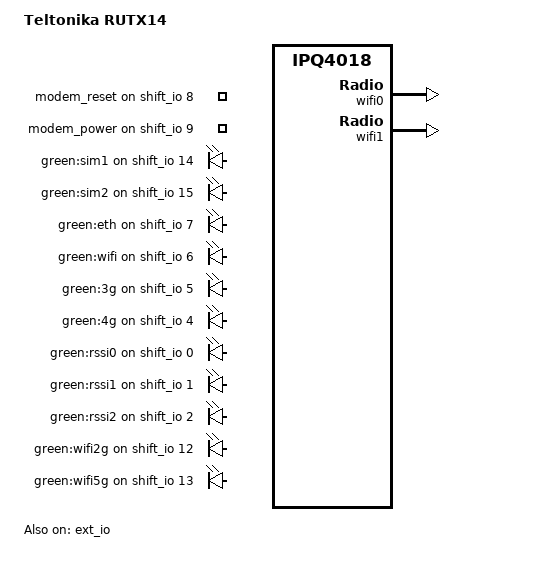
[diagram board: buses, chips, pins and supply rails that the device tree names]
// SPDX-License-Identifier: GPL-2.0-or-later OR MIT

#include "qcom-ipq4018-rutx-dsa.dtsi"

/ {
	model = "Teltonika RUTX14";
	compatible = "teltonika,rutx14";

	aliases {
		led-boot = &led_rssi0;
		led-failsafe = &led_rssi0;
		led-running = &led_rssi0;
		led-upgrade = &led_rssi0;
	};

	soc {
		gpio-export {
			compatible = "gpio-export";

			modem_reset {
				gpio-export,name = "modem_reset";
				gpio-export,output = <0>;
				gpios = <&shift_io 8 GPIO_ACTIVE_HIGH>;
			};

			modem_power {
				gpio-export,name = "modem_power";
				gpio-export,output = <1>;
				gpios = <&shift_io 9 GPIO_ACTIVE_HIGH>;
			};
		};

		leds {
			compatible = "gpio-leds";

			led-0 {
				label = "green:sim1";
				gpios = <&shift_io 14 GPIO_ACTIVE_HIGH>;
			};

			led-1 {
				label = "green:sim2";
				gpios = <&shift_io 15 GPIO_ACTIVE_HIGH>;
			};

			led-2 {
				label = "green:eth";
				gpios = <&shift_io 7 GPIO_ACTIVE_HIGH>;
			};

			led-3 {
				label = "green:wifi";
				gpios = <&shift_io 6 GPIO_ACTIVE_HIGH>;
			};

			led-4 {
				label = "green:3g";
				gpios = <&shift_io 5 GPIO_ACTIVE_HIGH>;
			};

			led-5 {
				label = "green:4g";
				gpios = <&shift_io 4 GPIO_ACTIVE_HIGH>;
			};

			led_rssi0: led-6 {
				label = "green:rssi0";
				gpios = <&shift_io 0 GPIO_ACTIVE_HIGH>;
			};

			led-7 {
				label = "green:rssi1";
				gpios = <&shift_io 1 GPIO_ACTIVE_HIGH>;
			};

			led-8 {
				label = "green:rssi2";
				gpios = <&shift_io 2 GPIO_ACTIVE_HIGH>;
			};

			led-9 {
				label = "green:wifi2g";
				gpios = <&shift_io 12 GPIO_ACTIVE_HIGH>;
				linux,default-trigger = "phy0tpt";
			};

			led-10 {
				label = "green:wifi5g";
				gpios = <&shift_io 13 GPIO_ACTIVE_HIGH>;
				linux,default-trigger = "phy1tpt";
			};
		};
	};
};

&ext_io {
	status = "okay";
};

&wifi0 {
	status = "okay";
	qcom,ath10k-calibration-variant = "Teltonika-RUTX10";
};

&wifi1 {
	status = "okay";
	qcom,ath10k-calibration-variant = "Teltonika-RUTX10";
};
